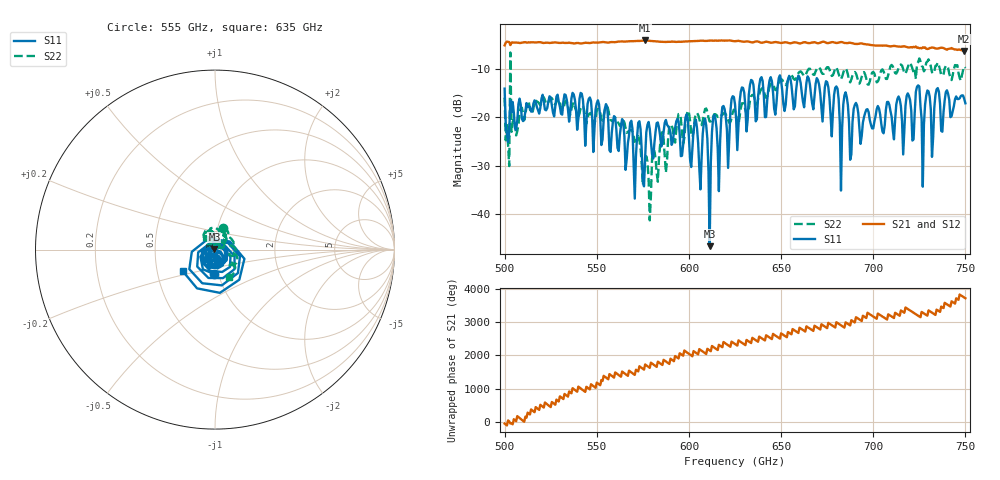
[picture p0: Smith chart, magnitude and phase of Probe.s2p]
# GHz S RI R 50.0
!freq	ReS11	ImS11	ReS21	ImS21	ReS12	ImS12	ReS22	ImS22
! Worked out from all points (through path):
!   401 points, 500 GHz to 750 GHz, reference 50 ohm
!   highest |S21| = -4.18 dB at 576.2 GHz (marker M1); lowest = -6.3 dB at 749.4 GHz (marker M2)
!   lowest |S11| = -46.5 dB at 611.2 GHz (marker M3), VSWR 1.01, Z = 49.7 + j0.332 ohm
!   |S11| at or under -10 dB: start of sweep to end of sweep
!   |S22| runs from -41.2 to -6.7 dB; largest |S21 - S12| = 0
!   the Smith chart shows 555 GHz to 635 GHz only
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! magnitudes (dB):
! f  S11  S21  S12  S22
! 500 GHz  -14.1  -5.2  -5.2  -16.0
! 541.9 GHz  -15.1  -4.8  -4.8  -17.6
! 576.2 GHz  -28.2  -4.2  -4.2  -29.3
! 583.8 GHz  -22.1  -4.4  -4.4  -28.5
! 603.8 GHz  -20.5  -4.3  -4.3  -19.3
! 606.2 GHz  -34.8  -4.2  -4.2  -21.3
! 608.8 GHz  -20.3  -4.3  -4.3  -18.3
! 611.2 GHz  -46.5  -4.2  -4.2  -20.9
! 613.8 GHz  -19.5  -4.2  -4.2  -19.3
! 616.2 GHz  -35.2  -4.2  -4.2  -19.8
! 618.8 GHz  -17.7  -4.2  -4.2  -19.2
! 625 GHz  -17.3  -4.3  -4.3  -18.7
! 633.8 GHz  -12.3  -4.5  -4.5  -15.7
! 666.9 GHz  -17.2  -4.6  -4.6  -10.9
! 680 GHz  -13.6  -4.7  -4.7  -9.7
! 682.5 GHz  -35.1  -4.5  -4.5  -12.2
! 685 GHz  -14.9  -4.7  -4.7  -9.9
! 688.1 GHz  -27.6  -4.7  -4.7  -12.2
! 708.8 GHz  -17.4  -5.4  -5.4  -10.4
! 726.9 GHz  -34.3  -5.6  -5.6  -9.6
! 749.4 GHz  -16.2  -6.3  -6.3  -9.5
! 750 GHz  -17.1  -6.3  -6.3  -9.8
